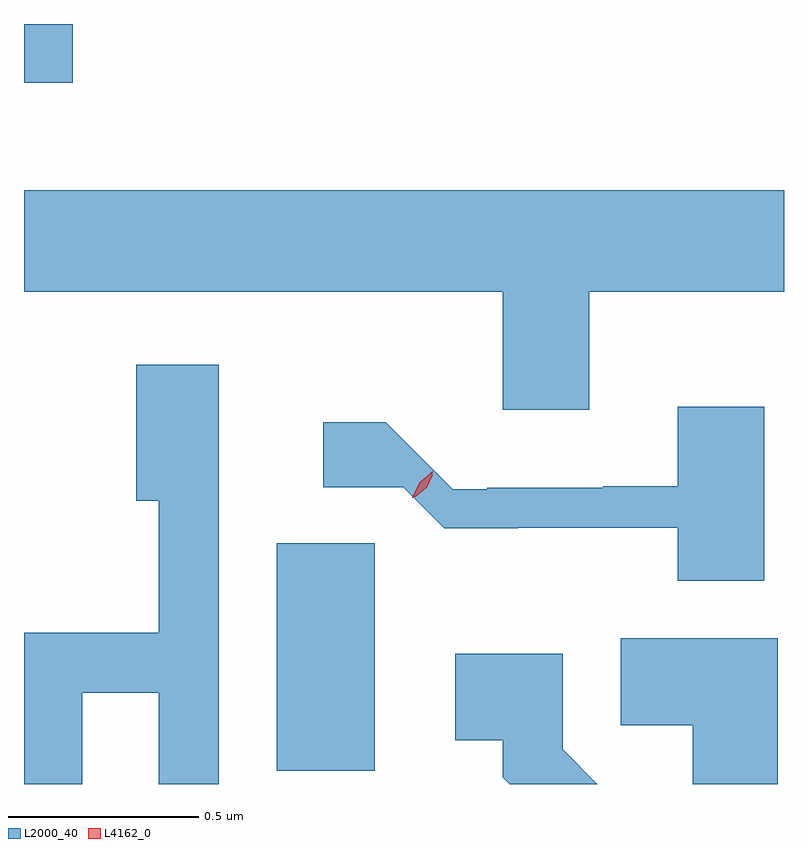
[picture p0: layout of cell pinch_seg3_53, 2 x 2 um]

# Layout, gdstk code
import gdstk
lib = gdstk.Library(unit=1e-6, precision=1e-09)
def R(c, l, rs):  # rectangles x0, y0, x1, y1
    for r in rs: c.add(gdstk.rectangle(r[:2], r[2:], *l))
def P(c, l, *ps):  # polygons
    for p in ps: c.add(gdstk.Polygon(p, *l))
L2000_40 = (2000, 40)
L4162_0 = (4162, 0)

pinch_seg3_53 = lib.new_cell('pinch_seg3_53')
R(pinch_seg3_53, L2000_40, [(1101.816,1144.736,1102.074,1145.334), (1101.151,1146.546,1101.279,1146.701)])
P(pinch_seg3_53, L2000_40, [(1102.639,1145.996),(1103.151,1145.996),(1103.151,1146.264),(1101.151,1146.264),(1101.151,1145.996),(1102.411,1145.996),(1102.411,1145.686),(1102.639,1145.686)],
  [(1101.304,1144.941),(1101.506,1144.941),(1101.506,1144.701),(1101.664,1144.701),(1101.664,1145.804),(1101.446,1145.804),(1101.446,1145.446),(1101.506,1145.446),(1101.506,1145.099),(1101.151,1145.099),(1101.151,1144.701),(1101.304,1144.701)],
  [(1103.099,1145.694),(1102.871,1145.694),(1102.871,1145.484),(1102.675,1145.484),(1102.675,1145.481),(1102.37,1145.481),(1102.37,1145.477),(1102.279,1145.477),(1102.103,1145.653),(1101.938,1145.653),(1101.938,1145.482),(1102.149,1145.482),(1102.257,1145.374),(1102.45,1145.374),(1102.45,1145.376),(1102.871,1145.376),(1102.871,1145.236),(1103.099,1145.236)],
  [(1103.134,1145.084),(1102.721,1145.084),(1102.721,1144.856),(1102.911,1144.856),(1102.911,1144.701),(1103.134,1144.701)],
  [(1102.569,1144.792),(1102.569,1145.044),(1102.286,1145.044),(1102.286,1144.816),(1102.411,1144.816),(1102.411,1144.719),(1102.429,1144.701),(1102.66,1144.701)])
P(pinch_seg3_53, L4162_0, [(1102.173,1145.454),(1102.173,1145.454),(1102.192,1145.495),(1102.226,1145.524),(1102.227,1145.524),(1102.227,1145.523),(1102.208,1145.483),(1102.174,1145.454)],
  [(1102.179,1145.457),(1102.179,1145.458),(1102.195,1145.493),(1102.226,1145.516),(1102.226,1145.516),(1102.226,1145.515),(1102.211,1145.48),(1102.18,1145.457)])

lib.write_gds('pinch_seg3_53.gds')
